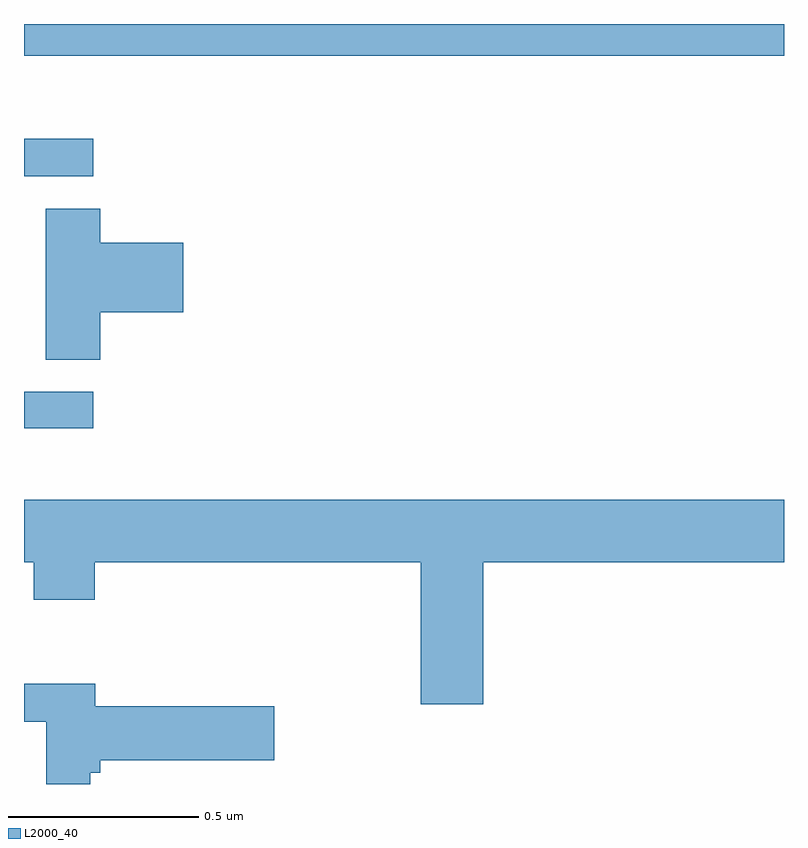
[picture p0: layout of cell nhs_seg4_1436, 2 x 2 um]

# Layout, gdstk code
import gdstk
lib = gdstk.Library(unit=1e-6, precision=1e-09)
def R(c, l, rs):  # rectangles x0, y0, x1, y1
    for r in rs: c.add(gdstk.rectangle(r[:2], r[2:], *l))
def P(c, l, *ps):  # polygons
    for p in ps: c.add(gdstk.Polygon(p, *l))
L2000_40 = (2000, 40)

nhs_seg4_1436 = lib.new_cell('nhs_seg4_1436')
R(nhs_seg4_1436, L2000_40, [(128,799.836,128.182,799.932), (128,800.499,128.182,800.598), (128,800.816,130,800.9)])
P(nhs_seg4_1436, L2000_40, [(128.201,800.141),(128.419,800.141),(128.419,800.324),(128.201,800.324),(128.201,800.414),(128.057,800.414),(128.057,800.017),(128.201,800.017)],
  [(129.208,799.484),(130,799.484),(130,799.648),(128,799.648),(128,799.484),(128.026,799.484),(128.026,799.385),(128.186,799.385),(128.186,799.484),(129.044,799.484),(129.044,799.11),(129.208,799.11)],
  [(128.174,798.929),(128.201,798.929),(128.201,798.962),(128.659,798.962),(128.659,799.104),(128.188,799.104),(128.188,799.164),(128,799.164),(128,799.064),(128.058,799.064),(128.058,798.9),(128.174,798.9)])

lib.write_gds('nhs_seg4_1436.gds')
